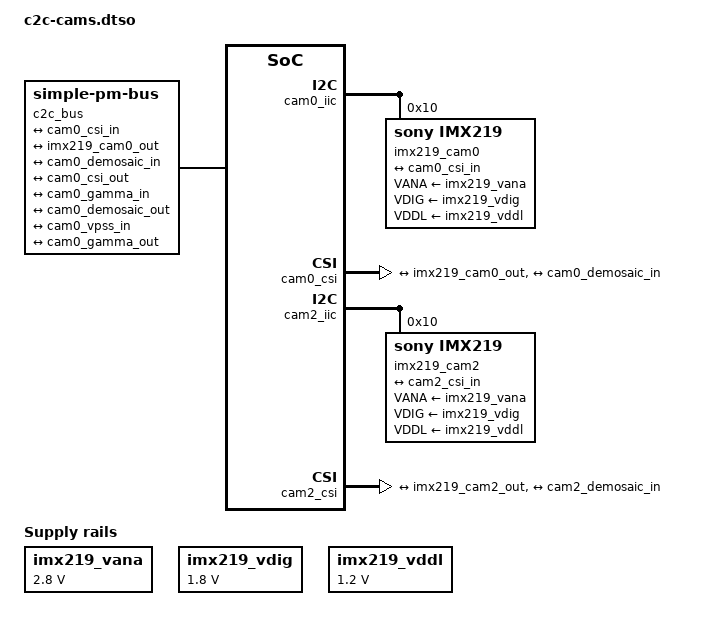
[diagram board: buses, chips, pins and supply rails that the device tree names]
// SPDX-License-Identifier: MIT
// Copyright (C) 2025-2026, Opsero Electronic Design Inc.  All rights reserved.

/*
 * c2c-cams.dtso - run-time device-tree overlay: the two MIPI camera pipelines of
 * the AUBoard 15P, as the Linux of the ZCU106 sees them through the AXI Chip2Chip
 * window (MIPI over Chip2Chip design).
 *
 *   IMX219 --CSI-2--> mipi_csi2_rx_subsystem -> [axis_subset_converter 10->8 bit]
 *     -> v_demosaic -> v_gamma_lut -> v_proc_ss (scaler only) -> v_frmbuf_wr
 *     ==AXI4 over the link==> DDR of the ZCU106 ---> /dev/videoN (xlnx,video)
 *
 * WHY AN OVERLAY: every driver below is built into the kernel and touches its
 * registers in probe. A register access through the window while the Aurora /
 * Chip2Chip link is down never completes. So these nodes are NOT in the base
 * tree; "c2c-overlay apply cams c2c-cams.dtbo" adds them after a link check.
 * APPLY ONCE PER BOOT - do not remove the overlay (see README.md).
 *
 * THIS FILE NEEDS THE C PREPROCESSOR (the constants below). Build it with
 * ./build-overlay.sh, which also writes a preprocessed copy that a plain
 * "dtc -@" (for example the one on the target) can compile.
 *
 * Every statement about a driver was checked against the kernel of the image,
 * linux-xlnx 6.12.40 (file:line in the comments refer to that tree).
 *
 * Only C comments from here on: the file goes through cpp in assembler mode.
 */

/dts-v1/;
/plugin/;

/* ==========================================================================
 * CONSTANTS - everything that comes from the AUBoard hardware report.
 * Source: docs/link_contract_deviations.md "Phase 2" + Vivado/src/bd/bd_fpga.tcl.
 * [A] marks a value that is still an ASSUMPTION (see README.md, "Open values").
 * ========================================================================== */

/* An address is written ONCE, without 0x: it is used for the unit address of the
 * node name (name@ADDR) and, through HEX(), for the reg property. */
#define _HEX(x)			0x##x
#define HEX(x)			_HEX(x)

/* --- the Chip2Chip window and the DMA window of the remote bus masters ------ */
#define C2C_WIN			a0000000	/* AXI4-Lite window, as seen by the APU */
#define C2C_WIN_SIZE		0x01000000	/* 16 MB */
/* The frame buffer writers are 32-bit masters that reach ONLY 0x0000_0000 -
 * 0x7FFF_FFFF of the ZCU106 (1:1, DDR low, through S_AXI_HP0_FPD, no SMMU). */
#define C2C_DMA_BASE		0x00000000
#define C2C_DMA_SIZE		0x80000000

/* --- interrupt: remote axi_intc -> link interrupt 0 -> pl_ps_irq0[0] -------- */
#define C2C_GIC_SPI		89		/* GIC SPI number; 89..92 = pl_ps_irq0[0..3] */
#define INTC_ADDR		a0040000
#define INTC_NUM_INPUTS		10		/* C_NUM_INTR_INPUTS */
#define INTC_KIND_OF_INTR	0x0		/* bit n = 1: input n is EDGE. All 10 are level. */
/* INTC input numbers (= Linux interrupt specifier, first cell) */
#define CAM0_CSI_IRQ		0
#define CAM0_FRMBUF_IRQ		1
#define CAM0_IIC_IRQ		2
#define CAM2_CSI_IRQ		3
#define CAM2_FRMBUF_IRQ		4
#define CAM2_IIC_IRQ		5
/* inputs 6..9 = demosaic / gamma of CAM0 / CAM2: wired, but their Linux drivers
 * use no interrupt, so they are not described (they stay masked in the INTC). */

/* --- register blocks: CAM0 at 0xA010_0000, CAM2 at 0xA020_0000 -------------- */
#define CAM0_CSI_ADDR		a0100000	/* mipi_csi2_rx_subsystem */
#define CAM0_IIC_ADDR		a0110000	/* axi_iic (sensor bus) */
#define CAM0_GPIO_ADDR		a0120000	/* axi_gpio (enable + resets) */
#define CAM0_DEMOSAIC_ADDR	a0130000	/* v_demosaic */
#define CAM0_GAMMA_ADDR		a0140000	/* v_gamma_lut */
#define CAM0_FRMBUF_ADDR	a0150000	/* v_frmbuf_wr */
#define CAM0_VPSS_ADDR		a0180000	/* v_proc_ss (256K) */

#define CAM2_CSI_ADDR		a0200000
#define CAM2_IIC_ADDR		a0210000
#define CAM2_GPIO_ADDR		a0220000
#define CAM2_DEMOSAIC_ADDR	a0230000
#define CAM2_GAMMA_ADDR		a0240000
#define CAM2_FRMBUF_ADDR	a0250000
#define CAM2_VPSS_ADDR		a0280000

#define SZ_64K			0x00010000
#define SZ_256K			0x00040000

/* --- bits of the per-camera axi_gpio (32 bit, all outputs, reset value 0x1) -- */
#define GPIO_BIT_CAM_ENABLE	0	/* camera IO0 = power enable, active high */
#define GPIO_BIT_RST_DEMOSAIC	2	/* active low */
#define GPIO_BIT_RST_VPSS	3	/* active low (aresetn_ctrl) */
#define GPIO_BIT_RST_GAMMA	4	/* active low */
#define GPIO_BIT_RST_FRMBUF	6	/* active low */
#define GPIO_DOUT_DEFAULT	0x00000001	/* camera on, every video IP in reset */
#define GPIO_ACTIVE_HIGH	0
#define GPIO_ACTIVE_LOW		1

/* --- clocks of the AUBoard (one MMCM); fixed clocks for Linux ---------------- */
#define CLK_AXI_HZ		100000000	/* clk_100M: AXI4-Lite of csi/iic/gpio/intc */
#define CLK_DPHY_HZ		200000000	/* clk_200M: D-PHY reference */
#define CLK_VIDEO_HZ		300000000	/* [A] clk_video ("video_clk_mhz" of bd_fpga.tcl) */
#define CLK_SENSOR_HZ		24000000	/* oscillator on the camera module (INCK) */

/* --- video IP configuration --------------------------------------------------- */
#define VID_MAX_WIDTH		1920
#define VID_MAX_HEIGHT		1232
#define VID_DATA_WIDTH		8		/* bits per component after the 10->8 converter */
#define VID_PPC			1		/* samples per clock */
#define VPSS_TAPS		6		/* C_H_SCALER_TAPS = C_V_SCALER_TAPS (polyphase) */
#define CSI_PXL_FORMAT		0x2b		/* RAW10 (CMN_PXL_FORMAT) */
#define CSI_LANES		1 2
#define SENSOR_LINK_FREQ	456000000	/* the only link frequency the imx219 driver accepts on 2 lanes */
#define FRMBUF_ADDR_WIDTH	32		/* AXIMM_ADDR_WIDTH */
#define FRMBUF_DMA_ALIGN	8		/* stride alignment in bytes (64-bit AXI4 master) */
/* v_frmbuf_wr has HAS_RGB8 only. The Linux name of XVIDC RGB8 is "bgr888"
 * (xilinx_frmbuf.c:399) = V4L2_PIX_FMT_RGB24 ("RGB3"). Add "rgb888" for HAS_BGR8,
 * "yuyv" for HAS_YUYV8 ... the list MUST equal the formats enabled in the IP. */
#define FRMBUF_VID_FORMATS	"bgr888"
/* xlnx,video-format codes (include/dt-bindings/media/xilinx-vip.h) */
#define XVIP_VF_RBG		2
#define XVIP_VF_MONO_SENSOR	12

/* ==========================================================================
 * END OF CONSTANTS
 * ========================================================================== */

&amba_pl {
#ifndef C2C_FLAT
	/*
	 * A bus node for "everything behind the link". It exists for ONE reason:
	 * dma-ranges. The remote masters reach only 0 - 0x7FFF_FFFF, but no driver
	 * says so: xilinx_frmbuf only uses xlnx,dma-addr-width to choose 32 or
	 * 64-bit address REGISTER writes (xilinx_frmbuf.c:1627-1637) and sets no DMA
	 * mask, and the device that really allocates the capture buffers, the
	 * "xlnx,video" node, sets a 64-BIT mask (xilinx-vipp.c:815). The ZCU106 has
	 * 2 GB of DDR at 0x8_0000_0000: a buffer from there would be truncated to 32
	 * bits by the frame buffer writer and overwrite low memory.
	 * dma-ranges makes of_dma_configure_id() set dev->bus_dma_limit = 0x7FFFFFFF
	 * on every device below (drivers/of/device.c:117-148); the driver mask
	 * cannot widen that, dma-direct then allocates with GFP_DMA / from the
	 * default CMA area (both in DDR low on this board) and bounces or refuses
	 * foreign (USERPTR / DMABUF) buffers above the limit instead of corrupting.
	 *
	 * compatible MUST be "simple-pm-bus", not "simple-bus": for a node added by
	 * an overlay the platform bus creates the device of the node itself only
	 * (of_platform_notify, drivers/of/platform.c:732-751); the children of a
	 * new "simple-bus" would never be created, while the simple-pm-bus driver
	 * calls of_platform_populate() in its probe (drivers/bus/simple-pm-bus.c:74).
	 *
	 * Build with -DC2C_FLAT (build-overlay.sh makes that variant too) to put the
	 * nodes directly under amba_pl, without the bus node and without the DMA
	 * limit - a fallback for debugging, not for shipping.
	 */
	c2c_bus: bus@C2C_WIN {
		compatible = "simple-pm-bus";
		#address-cells = <2>;
		#size-cells = <2>;
		ranges = <0x0 HEX(C2C_WIN) 0x0 HEX(C2C_WIN) 0x0 C2C_WIN_SIZE>;
		dma-ranges = <0x0 C2C_DMA_BASE 0x0 C2C_DMA_BASE 0x0 C2C_DMA_SIZE>;
#endif

		/* ---------------------------------------------------------------
		 * Clocks. They are generated on the AUBoard, Linux cannot gate or
		 * change them: fixed clocks. (A node added by an overlay is served
		 * by the platform driver of clk-fixed-rate.c, not by CLK_OF_DECLARE.)
		 * --------------------------------------------------------------- */
		rmt_clk_axi: clk-rmt-axi {
			compatible = "fixed-clock";
			#clock-cells = <0>;
			clock-frequency = <CLK_AXI_HZ>;
			clock-output-names = "rmt_clk_100M";
		};

		rmt_clk_dphy: clk-rmt-dphy {
			compatible = "fixed-clock";
			#clock-cells = <0>;
			clock-frequency = <CLK_DPHY_HZ>;
			clock-output-names = "rmt_clk_200M";
		};

		rmt_clk_video: clk-rmt-video {
			compatible = "fixed-clock";
			#clock-cells = <0>;
			clock-frequency = <CLK_VIDEO_HZ>;
			clock-output-names = "rmt_clk_video";
		};

		/* 24 MHz oscillator of the Raspberry Pi camera v2 module. The imx219
		 * driver refuses any other rate (imx219.c:1163-1166). */
		imx219_clk: clk-imx219 {
			compatible = "fixed-clock";
			#clock-cells = <0>;
			clock-frequency = <CLK_SENSOR_HZ>;
			clock-output-names = "imx219_inck";
		};

		/* ---------------------------------------------------------------
		 * Sensor supplies. The imx219 driver REQUIRES VANA / VDIG / VDDL
		 * (imx219.c:255-260, devm_regulator_bulk_get). The rails are made on
		 * the camera module from the 3.3 V of the FMC while camera IO0
		 * (GPIO bit 0) is high; nothing to switch: dummy fixed regulators,
		 * shared by both cameras, as in the rpi-camera-fmc reference design.
		 * --------------------------------------------------------------- */
		imx219_vana: regulator-imx219-vana {
			compatible = "regulator-fixed";
			regulator-name = "imx219_vana";
			regulator-min-microvolt = <2800000>;
			regulator-max-microvolt = <2800000>;
		};

		imx219_vdig: regulator-imx219-vdig {
			compatible = "regulator-fixed";
			regulator-name = "imx219_vdig";
			regulator-min-microvolt = <1800000>;
			regulator-max-microvolt = <1800000>;
		};

		imx219_vddl: regulator-imx219-vddl {
			compatible = "regulator-fixed";
			regulator-name = "imx219_vddl";
			regulator-min-microvolt = <1200000>;
			regulator-max-microvolt = <1200000>;
		};

		/* ---------------------------------------------------------------
		 * Remote interrupt controller, cascaded into GIC SPI 89.
		 * This kernel has CONFIG_IRQCHIP_XILINX_INTC_MODULE_SUPPORT_EXPERIMENTAL=y,
		 * so irq-xilinx-intc.c registers a PLATFORM DRIVER
		 * (irq-xilinx-intc.c:346-348) instead of IRQCHIP_DECLARE (:354): a node
		 * added by an overlay is probed like any other device.
		 * The driver needs IVR, SIE and CIE in the IP (axi_intc defaults).
		 * The second interrupt cell of the consumers is ignored by the driver
		 * (edge/level comes from xlnx,kind-of-intr); 2 = "level high" is the
		 * convention of the AMD device-tree generator.
		 * --------------------------------------------------------------- */
		rmt_intc: interrupt-controller@INTC_ADDR {
			compatible = "xlnx,axi-intc-4.1", "xlnx,xps-intc-1.00.a";
			reg = <0x0 HEX(INTC_ADDR) 0x0 SZ_64K>;
			interrupt-controller;
			#interrupt-cells = <2>;
			interrupt-parent = <&gic>;
			interrupts = <0 C2C_GIC_SPI 4>;		/* SPI, level high */
			xlnx,num-intr-inputs = <INTC_NUM_INPUTS>;	/* required */
			xlnx,kind-of-intr = <INTC_KIND_OF_INTR>;
			clocks = <&rmt_clk_axi>;
			clock-names = "s_axi_aclk";
		};

		/* ===============================================================
		 * CAM0
		 * =============================================================== */

		/*
		 * Enable + resets. gpio-xilinx WRITES xlnx,dout-default to the data
		 * register in probe (gpio-xilinx.c:589,652 xgpio_save_regs): it must
		 * keep bit 0 = 1 (camera on). A missing property would write 0 and
		 * switch the camera off.
		 * A video IP in reset does NOT answer on AXI4-Lite and the access
		 * never completes: each driver below takes its reset line from here,
		 * asserts it (GPIOD_OUT_HIGH + GPIO_ACTIVE_LOW = pin low) and releases
		 * it before its first register access. Never devmem a video IP whose
		 * reset bit is 0.
		 */
		cam0_gpio: gpio@CAM0_GPIO_ADDR {
			compatible = "xlnx,axi-gpio-2.0", "xlnx,xps-gpio-1.00.a";
			reg = <0x0 HEX(CAM0_GPIO_ADDR) 0x0 SZ_64K>;
			gpio-controller;
			#gpio-cells = <2>;
			xlnx,gpio-width = <32>;
			xlnx,is-dual = <0>;
			xlnx,all-outputs = <1>;
			xlnx,dout-default = <GPIO_DOUT_DEFAULT>;
			xlnx,tri-default = <0x0>;
			clocks = <&rmt_clk_axi>;
			clock-names = "s_axi_aclk";
			gpio-line-names = "cam0-enable", "cam0-io1", "cam0-rst-demosaic",
					  "cam0-rst-vpss", "cam0-rst-gamma", "",
					  "cam0-rst-frmbuf";
		};

		/* Sensor bus. i2c-xiic REQUIRES a clock and an interrupt
		 * (i2c-xiic.c:1450,1468). No clock-frequency: the 100 kHz timing is
		 * the one built into the IP for its 100 MHz clock. */
		cam0_iic: i2c@CAM0_IIC_ADDR {
			compatible = "xlnx,axi-iic-2.1", "xlnx,xps-iic-2.00.a";
			reg = <0x0 HEX(CAM0_IIC_ADDR) 0x0 SZ_64K>;
			interrupt-parent = <&rmt_intc>;
			interrupts = <CAM0_IIC_IRQ 2>;
			clocks = <&rmt_clk_axi>;
			clock-names = "s_axi_aclk";
			#address-cells = <1>;
			#size-cells = <0>;

			/*
			 * No reset-gpios on purpose. The imx219 driver would treat it
			 * as the enable pin (1 = on in power_on, imx219.c:1004; flags
			 * would be GPIO_ACTIVE_HIGH on GPIO bit 0) and only waits 6.2 ms
			 * after raising it, not enough for the regulators of the module.
			 * The camera stays enabled from the reset value of the GPIO, as
			 * in the reference design.
			 *
			 * OPEN: 0x10 is the IMX219 address of the reference design. On
			 * this hardware both sensors still answered NACK at 0x10 over
			 * JTAG when this file was written (README.md, "Open values").
			 * If the address changes, change sensor@10 AND reg, CAM0 + CAM2.
			 */
			imx219_cam0: sensor@10 {
				compatible = "sony,imx219";
				reg = <0x10>;
				clocks = <&imx219_clk>;
				VANA-supply = <&imx219_vana>;	/* 2.8 V */
				VDIG-supply = <&imx219_vdig>;	/* 1.8 V */
				VDDL-supply = <&imx219_vddl>;	/* 1.2 V */

				port {
					imx219_cam0_out: endpoint {
						remote-endpoint = <&cam0_csi_in>;
						data-lanes = <CSI_LANES>;
						link-frequencies = /bits/ 64 <SENSOR_LINK_FREQ>;
					};
				};
			};
		};

		/*
		 * MIPI CSI-2 RX subsystem. Required by xilinx-csi2rxss.c: interrupt
		 * (:1011), clocks "lite_aclk" + "video_aclk" (:245-248),
		 * xlnx,csi-pxl-format (:894), xlnx,vfb (:932), port@0 with data-lanes,
		 * port@1. The driver keeps ONE format for both pads and accepts the
		 * data type of the IP (RAW10) or RAW8 (:790-797); it does not read
		 * xlnx,video-format / -width / cfa-pattern of the ports - they are kept
		 * as in the generated trees of the reference design, for information.
		 * Not set: xlnx,en-active-lanes (C_CSI_EN_ACTIVELANES is false; the
		 * driver only prints it), xlnx,en-csi-v2-0 / xlnx,en-vcx (booleans by
		 * PRESENCE; VCX is off in the IP).
		 */
		cam0_csi: mipi_csi2_rx_subsystem@CAM0_CSI_ADDR {
			compatible = "xlnx,mipi-csi2-rx-subsystem-6.0",
				     "xlnx,mipi-csi2-rx-subsystem-5.0";
			reg = <0x0 HEX(CAM0_CSI_ADDR) 0x0 SZ_64K>;
			interrupt-parent = <&rmt_intc>;
			interrupts = <CAM0_CSI_IRQ 2>;
			clocks = <&rmt_clk_dphy>, <&rmt_clk_axi>, <&rmt_clk_video>;
			clock-names = "dphy_clk_200M", "lite_aclk", "video_aclk";
			xlnx,csi-pxl-format = <CSI_PXL_FORMAT>;
			xlnx,vfb;
			xlnx,max-lanes = <2>;
			xlnx,ppc = <VID_PPC>;

			ports {
				#address-cells = <1>;
				#size-cells = <0>;

				port@0 {
					reg = <0>;
					xlnx,video-format = <XVIP_VF_MONO_SENSOR>;
					xlnx,video-width = <10>;
					xlnx,cfa-pattern = "rggb";
					cam0_csi_in: endpoint {
						remote-endpoint = <&imx219_cam0_out>;
						data-lanes = <CSI_LANES>;
					};
				};

				port@1 {
					reg = <1>;
					xlnx,video-format = <XVIP_VF_MONO_SENSOR>;
					xlnx,video-width = <10>;
					xlnx,cfa-pattern = "rggb";
					cam0_csi_out: endpoint {
						remote-endpoint = <&cam0_demosaic_in>;
					};
				};
			};
		};

		/*
		 * Demosaic. The axis_subset_converter in front of it (RAW10 -> the 8
		 * MSB) has no registers and no node: the sink pad of the driver takes
		 * SRGGB8/10/12/16 alike (xilinx-demosaic.c:152-184) and only the Bayer
		 * phase is programmed, so SRGGB10_1X10 of the CSI source pad validates
		 * against this sink pad. Required: xlnx,max-width/-height (u32),
		 * one clock, reset-gpios (:316). No interrupt is used.
		 */
		cam0_demosaic: v_demosaic@CAM0_DEMOSAIC_ADDR {
			compatible = "xlnx,v-demosaic-1.1", "xlnx,v-demosaic";
			reg = <0x0 HEX(CAM0_DEMOSAIC_ADDR) 0x0 SZ_64K>;
			clocks = <&rmt_clk_video>;
			clock-names = "ap_clk";
			reset-gpios = <&cam0_gpio GPIO_BIT_RST_DEMOSAIC GPIO_ACTIVE_LOW>;
			xlnx,max-width = <VID_MAX_WIDTH>;
			xlnx,max-height = <VID_MAX_HEIGHT>;

			ports {
				#address-cells = <1>;
				#size-cells = <0>;

				port@0 {
					reg = <0>;
					xlnx,video-width = <VID_DATA_WIDTH>;
					xlnx,cfa-pattern = "rggb";
					cam0_demosaic_in: endpoint {
						remote-endpoint = <&cam0_csi_out>;
					};
				};

				port@1 {
					reg = <1>;
					xlnx,video-width = <VID_DATA_WIDTH>;
					cam0_demosaic_out: endpoint {
						remote-endpoint = <&cam0_gamma_in>;
					};
				};
			};
		};

		/* Gamma LUT. As demosaic, plus xlnx,video-width (8 or 10) in EVERY
		 * port (xilinx-gamma.c:415-431). Pads: RBG888_1X24 only. */
		cam0_gamma: v_gamma_lut@CAM0_GAMMA_ADDR {
			compatible = "xlnx,v-gamma-lut-1.1", "xlnx,v-gamma-lut";
			reg = <0x0 HEX(CAM0_GAMMA_ADDR) 0x0 SZ_64K>;
			clocks = <&rmt_clk_video>;
			clock-names = "ap_clk";
			reset-gpios = <&cam0_gpio GPIO_BIT_RST_GAMMA GPIO_ACTIVE_LOW>;
			xlnx,max-width = <VID_MAX_WIDTH>;
			xlnx,max-height = <VID_MAX_HEIGHT>;

			ports {
				#address-cells = <1>;
				#size-cells = <0>;

				port@0 {
					reg = <0>;
					xlnx,video-width = <VID_DATA_WIDTH>;
					cam0_gamma_in: endpoint {
						remote-endpoint = <&cam0_demosaic_out>;
					};
				};

				port@1 {
					reg = <1>;
					xlnx,video-width = <VID_DATA_WIDTH>;
					cam0_gamma_out: endpoint {
						remote-endpoint = <&cam0_vpss_in>;
					};
				};
			};
		};

		/*
		 * Video Processing Subsystem, scaler only. The compatible must be the
		 * one of the SCALER driver and nothing else. reg = the BASE of the
		 * 256K v_proc_ss range: the driver adds +0x0_0000 h scaler, +0x1_0000
		 * reset GPIO, +0x2_0000 v scaler itself (xilinx-vpss-scaler.c:38-40).
		 * Required for -2.2: clocks "aclk_axis" + "aclk_ctrl" (:1863-1872),
		 * max-width/-height, num-hori-taps / num-vert-taps (6,8,10,12 =
		 * polyphase), pix-per-clk, reset-gpios (:2001), and a valid
		 * xlnx,video-format + xlnx,video-width in every port (:1912).
		 * The IP has no colour conversion and RGB / YUV 4:4:4 only: RGB in,
		 * RGB out (RBG888_1X24 on both pads), scaling only.
		 */
		cam0_vpss: v_proc_ss@CAM0_VPSS_ADDR {
			compatible = "xlnx,v-vpss-scaler-2.2";
			reg = <0x0 HEX(CAM0_VPSS_ADDR) 0x0 SZ_256K>;
			clocks = <&rmt_clk_video>, <&rmt_clk_video>;
			clock-names = "aclk_axis", "aclk_ctrl";
			reset-gpios = <&cam0_gpio GPIO_BIT_RST_VPSS GPIO_ACTIVE_LOW>;
			xlnx,max-width = <VID_MAX_WIDTH>;
			xlnx,max-height = <VID_MAX_HEIGHT>;
			xlnx,num-hori-taps = <VPSS_TAPS>;
			xlnx,num-vert-taps = <VPSS_TAPS>;
			xlnx,pix-per-clk = <VID_PPC>;

			ports {
				#address-cells = <1>;
				#size-cells = <0>;

				port@0 {
					reg = <0>;
					xlnx,video-format = <XVIP_VF_RBG>;
					xlnx,video-width = <VID_DATA_WIDTH>;
					cam0_vpss_in: endpoint {
						remote-endpoint = <&cam0_gamma_out>;
					};
				};

				port@1 {
					reg = <1>;
					xlnx,video-format = <XVIP_VF_RBG>;
					xlnx,video-width = <VID_DATA_WIDTH>;
					cam0_vpss_out: endpoint {
						remote-endpoint = <&cam0_vcap_in>;
					};
				};
			};
		};

		/*
		 * Frame Buffer Write = the dmaengine of the capture node. Required
		 * (xilinx_frmbuf.c): clock "ap_clk" (:1708), reset-gpios (:1718),
		 * interrupt (:1646, the only IRQF_SHARED one of the chain),
		 * xlnx,dma-addr-width 32|64 (:1627), max-width/-height,
		 * xlnx,pixels-per-clock, xlnx,vid-formats, #dma-cells = <1>.
		 * The second compatible is the one the driver matches (its own 3.0
		 * string is spelled "xlnx,v-frmbuf-wr-v3.0").
		 */
		cam0_frmbuf: v_frmbuf_wr@CAM0_FRMBUF_ADDR {
			compatible = "xlnx,v-frmbuf-wr-3.0", "xlnx,axi-frmbuf-wr-v2.2";
			reg = <0x0 HEX(CAM0_FRMBUF_ADDR) 0x0 SZ_64K>;
			#dma-cells = <1>;
			interrupt-parent = <&rmt_intc>;
			interrupts = <CAM0_FRMBUF_IRQ 2>;
			clocks = <&rmt_clk_video>;
			clock-names = "ap_clk";
			reset-gpios = <&cam0_gpio GPIO_BIT_RST_FRMBUF GPIO_ACTIVE_LOW>;
			xlnx,dma-addr-width = <FRMBUF_ADDR_WIDTH>;
			xlnx,dma-align = <FRMBUF_DMA_ALIGN>;
			xlnx,max-width = <VID_MAX_WIDTH>;
			xlnx,max-height = <VID_MAX_HEIGHT>;
			xlnx,pixels-per-clock = <VID_PPC>;
			xlnx,video-width = <VID_DATA_WIDTH>;
			xlnx,vid-formats = FRMBUF_VID_FORMATS;
		};

		/*
		 * The capture node: creates /dev/videoN and the media device, and IS
		 * the device the capture buffers are allocated for (see c2c_bus).
		 * Keep the name vcap_mipi_<CAM>_v_proc: the scripts find the camera
		 * number in it. port@0 needs reg (it is the DMA index) and direction.
		 */
		vcap_mipi_0_v_proc {
			compatible = "xlnx,video";
			dmas = <&cam0_frmbuf 0>;
			dma-names = "port0";

			ports {
				#address-cells = <1>;
				#size-cells = <0>;

				port@0 {
					reg = <0>;
					direction = "input";
					cam0_vcap_in: endpoint {
						remote-endpoint = <&cam0_vpss_out>;
					};
				};
			};
		};

		/* ===============================================================
		 * CAM2 - identical to CAM0 (see the comments there)
		 * =============================================================== */

		cam2_gpio: gpio@CAM2_GPIO_ADDR {
			compatible = "xlnx,axi-gpio-2.0", "xlnx,xps-gpio-1.00.a";
			reg = <0x0 HEX(CAM2_GPIO_ADDR) 0x0 SZ_64K>;
			gpio-controller;
			#gpio-cells = <2>;
			xlnx,gpio-width = <32>;
			xlnx,is-dual = <0>;
			xlnx,all-outputs = <1>;
			xlnx,dout-default = <GPIO_DOUT_DEFAULT>;
			xlnx,tri-default = <0x0>;
			clocks = <&rmt_clk_axi>;
			clock-names = "s_axi_aclk";
			gpio-line-names = "cam2-enable", "cam2-io1", "cam2-rst-demosaic",
					  "cam2-rst-vpss", "cam2-rst-gamma", "",
					  "cam2-rst-frmbuf";
		};

		cam2_iic: i2c@CAM2_IIC_ADDR {
			compatible = "xlnx,axi-iic-2.1", "xlnx,xps-iic-2.00.a";
			reg = <0x0 HEX(CAM2_IIC_ADDR) 0x0 SZ_64K>;
			interrupt-parent = <&rmt_intc>;
			interrupts = <CAM2_IIC_IRQ 2>;
			clocks = <&rmt_clk_axi>;
			clock-names = "s_axi_aclk";
			#address-cells = <1>;
			#size-cells = <0>;

			imx219_cam2: sensor@10 {
				compatible = "sony,imx219";
				reg = <0x10>;
				clocks = <&imx219_clk>;
				VANA-supply = <&imx219_vana>;	/* 2.8 V */
				VDIG-supply = <&imx219_vdig>;	/* 1.8 V */
				VDDL-supply = <&imx219_vddl>;	/* 1.2 V */

				port {
					imx219_cam2_out: endpoint {
						remote-endpoint = <&cam2_csi_in>;
						data-lanes = <CSI_LANES>;
						link-frequencies = /bits/ 64 <SENSOR_LINK_FREQ>;
					};
				};
			};
		};

		cam2_csi: mipi_csi2_rx_subsystem@CAM2_CSI_ADDR {
			compatible = "xlnx,mipi-csi2-rx-subsystem-6.0",
				     "xlnx,mipi-csi2-rx-subsystem-5.0";
			reg = <0x0 HEX(CAM2_CSI_ADDR) 0x0 SZ_64K>;
			interrupt-parent = <&rmt_intc>;
			interrupts = <CAM2_CSI_IRQ 2>;
			clocks = <&rmt_clk_dphy>, <&rmt_clk_axi>, <&rmt_clk_video>;
			clock-names = "dphy_clk_200M", "lite_aclk", "video_aclk";
			xlnx,csi-pxl-format = <CSI_PXL_FORMAT>;
			xlnx,vfb;
			xlnx,max-lanes = <2>;
			xlnx,ppc = <VID_PPC>;

			ports {
				#address-cells = <1>;
				#size-cells = <0>;

				port@0 {
					reg = <0>;
					xlnx,video-format = <XVIP_VF_MONO_SENSOR>;
					xlnx,video-width = <10>;
					xlnx,cfa-pattern = "rggb";
					cam2_csi_in: endpoint {
						remote-endpoint = <&imx219_cam2_out>;
						data-lanes = <CSI_LANES>;
					};
				};

				port@1 {
					reg = <1>;
					xlnx,video-format = <XVIP_VF_MONO_SENSOR>;
					xlnx,video-width = <10>;
					xlnx,cfa-pattern = "rggb";
					cam2_csi_out: endpoint {
						remote-endpoint = <&cam2_demosaic_in>;
					};
				};
			};
		};

		cam2_demosaic: v_demosaic@CAM2_DEMOSAIC_ADDR {
			compatible = "xlnx,v-demosaic-1.1", "xlnx,v-demosaic";
			reg = <0x0 HEX(CAM2_DEMOSAIC_ADDR) 0x0 SZ_64K>;
			clocks = <&rmt_clk_video>;
			clock-names = "ap_clk";
			reset-gpios = <&cam2_gpio GPIO_BIT_RST_DEMOSAIC GPIO_ACTIVE_LOW>;
			xlnx,max-width = <VID_MAX_WIDTH>;
			xlnx,max-height = <VID_MAX_HEIGHT>;

			ports {
				#address-cells = <1>;
				#size-cells = <0>;

				port@0 {
					reg = <0>;
					xlnx,video-width = <VID_DATA_WIDTH>;
					xlnx,cfa-pattern = "rggb";
					cam2_demosaic_in: endpoint {
						remote-endpoint = <&cam2_csi_out>;
					};
				};

				port@1 {
					reg = <1>;
					xlnx,video-width = <VID_DATA_WIDTH>;
					cam2_demosaic_out: endpoint {
						remote-endpoint = <&cam2_gamma_in>;
					};
				};
			};
		};

		cam2_gamma: v_gamma_lut@CAM2_GAMMA_ADDR {
			compatible = "xlnx,v-gamma-lut-1.1", "xlnx,v-gamma-lut";
			reg = <0x0 HEX(CAM2_GAMMA_ADDR) 0x0 SZ_64K>;
			clocks = <&rmt_clk_video>;
			clock-names = "ap_clk";
			reset-gpios = <&cam2_gpio GPIO_BIT_RST_GAMMA GPIO_ACTIVE_LOW>;
			xlnx,max-width = <VID_MAX_WIDTH>;
			xlnx,max-height = <VID_MAX_HEIGHT>;

			ports {
				#address-cells = <1>;
				#size-cells = <0>;

				port@0 {
					reg = <0>;
					xlnx,video-width = <VID_DATA_WIDTH>;
					cam2_gamma_in: endpoint {
						remote-endpoint = <&cam2_demosaic_out>;
					};
				};

				port@1 {
					reg = <1>;
					xlnx,video-width = <VID_DATA_WIDTH>;
					cam2_gamma_out: endpoint {
						remote-endpoint = <&cam2_vpss_in>;
					};
				};
			};
		};

		cam2_vpss: v_proc_ss@CAM2_VPSS_ADDR {
			compatible = "xlnx,v-vpss-scaler-2.2";
			reg = <0x0 HEX(CAM2_VPSS_ADDR) 0x0 SZ_256K>;
			clocks = <&rmt_clk_video>, <&rmt_clk_video>;
			clock-names = "aclk_axis", "aclk_ctrl";
			reset-gpios = <&cam2_gpio GPIO_BIT_RST_VPSS GPIO_ACTIVE_LOW>;
			xlnx,max-width = <VID_MAX_WIDTH>;
			xlnx,max-height = <VID_MAX_HEIGHT>;
			xlnx,num-hori-taps = <VPSS_TAPS>;
			xlnx,num-vert-taps = <VPSS_TAPS>;
			xlnx,pix-per-clk = <VID_PPC>;

			ports {
				#address-cells = <1>;
				#size-cells = <0>;

				port@0 {
					reg = <0>;
					xlnx,video-format = <XVIP_VF_RBG>;
					xlnx,video-width = <VID_DATA_WIDTH>;
					cam2_vpss_in: endpoint {
						remote-endpoint = <&cam2_gamma_out>;
					};
				};

				port@1 {
					reg = <1>;
					xlnx,video-format = <XVIP_VF_RBG>;
					xlnx,video-width = <VID_DATA_WIDTH>;
					cam2_vpss_out: endpoint {
						remote-endpoint = <&cam2_vcap_in>;
					};
				};
			};
		};

		cam2_frmbuf: v_frmbuf_wr@CAM2_FRMBUF_ADDR {
			compatible = "xlnx,v-frmbuf-wr-3.0", "xlnx,axi-frmbuf-wr-v2.2";
			reg = <0x0 HEX(CAM2_FRMBUF_ADDR) 0x0 SZ_64K>;
			#dma-cells = <1>;
			interrupt-parent = <&rmt_intc>;
			interrupts = <CAM2_FRMBUF_IRQ 2>;
			clocks = <&rmt_clk_video>;
			clock-names = "ap_clk";
			reset-gpios = <&cam2_gpio GPIO_BIT_RST_FRMBUF GPIO_ACTIVE_LOW>;
			xlnx,dma-addr-width = <FRMBUF_ADDR_WIDTH>;
			xlnx,dma-align = <FRMBUF_DMA_ALIGN>;
			xlnx,max-width = <VID_MAX_WIDTH>;
			xlnx,max-height = <VID_MAX_HEIGHT>;
			xlnx,pixels-per-clock = <VID_PPC>;
			xlnx,video-width = <VID_DATA_WIDTH>;
			xlnx,vid-formats = FRMBUF_VID_FORMATS;
		};

		vcap_mipi_2_v_proc {
			compatible = "xlnx,video";
			dmas = <&cam2_frmbuf 0>;
			dma-names = "port0";

			ports {
				#address-cells = <1>;
				#size-cells = <0>;

				port@0 {
					reg = <0>;
					direction = "input";
					cam2_vcap_in: endpoint {
						remote-endpoint = <&cam2_vpss_out>;
					};
				};
			};
		};
#ifndef C2C_FLAT
	};
#endif
};
